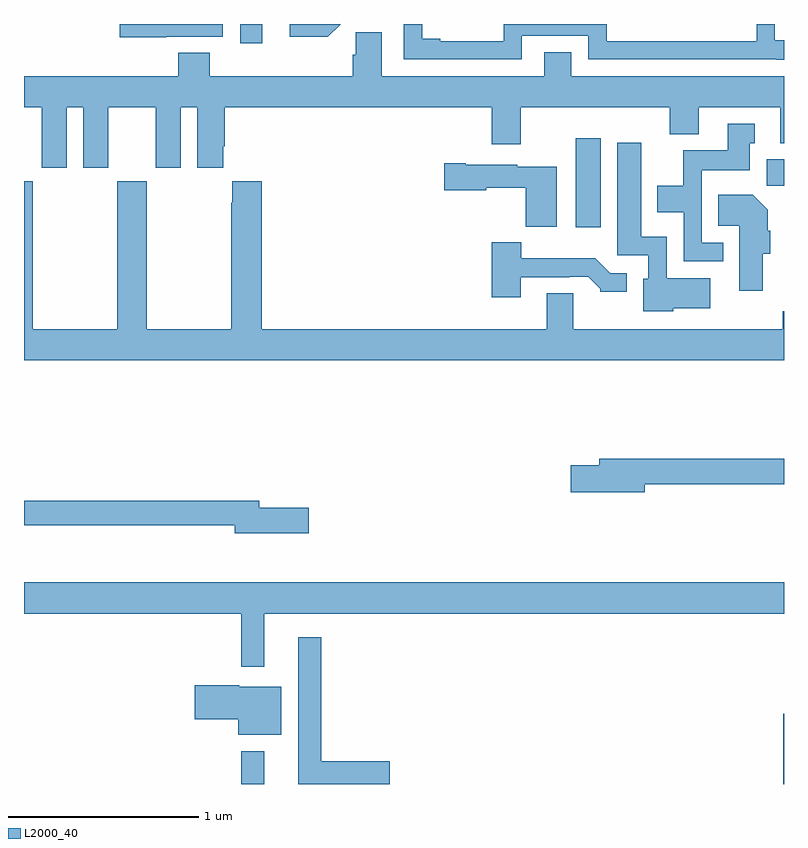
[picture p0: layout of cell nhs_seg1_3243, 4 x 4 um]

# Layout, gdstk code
import gdstk
lib = gdstk.Library(unit=1e-6, precision=1e-09)
def R(c, l, rs):  # rectangles x0, y0, x1, y1
    for r in rs: c.add(gdstk.rectangle(r[:2], r[2:], *l))
def P(c, l, *ps):  # polygons
    for p in ps: c.add(gdstk.Polygon(p, *l))
L2000_40 = (2000, 40)

nhs_seg1_3243 = lib.new_cell('nhs_seg1_3243')
R(nhs_seg1_3243, L2000_40, [(288.144,520.199,288.265,520.372), (290.996,520.199,291,520.569), (289.904,523.128,290.035,523.597), (290.909,523.348,291,523.486), (288.138,524.097,288.253,524.199), (290.16,524.198,290.771,524.199)])
P(nhs_seg1_3243, L2000_40, [(288.666,524.199),(288.399,524.199),(288.399,524.132),(288.598,524.132)],
  [(287.749,524.133),(288.045,524.133),(288.045,524.199),(287.505,524.199),(287.505,524.129),(287.749,524.129)],
  [(291,524.113),(290.952,524.113),(290.952,524.199),(290.856,524.199),(290.856,524.109),(290.067,524.109),(290.067,524.199),(289.524,524.199),(289.524,524.109),(289.192,524.109),(289.192,524.121),(289.097,524.121),(289.097,524.199),(288.999,524.199),(288.999,524.013),(289.62,524.013),(289.62,524.136),(289.971,524.136),(289.971,524.013),(290.959,524.013),(290.959,524.012),(291,524.012)],
  [(287.224,523.76),(287.312,523.76),(287.312,523.443),(287.443,523.443),(287.443,523.76),(287.693,523.76),(287.693,523.443),(287.824,523.443),(287.824,523.76),(287.912,523.76),(287.912,523.443),(288.049,523.443),(288.049,523.555),(288.056,523.555),(288.056,523.76),(289.463,523.76),(289.463,523.566),(289.615,523.566),(289.615,523.76),(290.399,523.76),(290.399,523.619),(290.551,523.619),(290.551,523.76),(290.981,523.76),(290.981,523.571),(291,523.571),(291,523.924),(289.879,523.924),(289.879,524.051),(289.739,524.051),(289.739,523.924),(288.883,523.924),(288.883,524.156),(288.745,524.156),(288.745,524.036),(288.731,524.036),(288.731,523.924),(287.978,523.924),(287.978,524.048),(287.813,524.048),(287.813,523.924),(287,523.924),(287,523.76),(287.093,523.76),(287.093,523.443),(287.224,523.443)],
  [(290.68,523.047),(290.568,523.047),(290.568,523.43),(290.821,523.43),(290.821,523.572),(290.845,523.572),(290.845,523.675),(290.705,523.675),(290.705,523.534),(290.47,523.534),(290.47,523.348),(290.333,523.348),(290.333,523.208),(290.472,523.208),(290.472,522.951),(290.68,522.951)],
  [(290.418,522.704),(290.611,522.704),(290.611,522.862),(290.382,522.862),(290.382,523.078),(290.248,523.078),(290.248,523.573),(290.123,523.573),(290.123,522.981),(290.286,522.981),(290.286,522.858),(290.258,522.858),(290.258,522.686),(290.418,522.686)],
  [(289.804,523.447),(289.596,523.447),(289.596,523.459),(289.324,523.459),(289.324,523.467),(289.212,523.467),(289.212,523.325),(289.434,523.325),(289.434,523.337),(289.642,523.337),(289.642,523.133),(289.804,523.133)],
  [(287.491,523.371),(287.491,522.592),(287.046,522.592),(287.046,523.371),(287,523.371),(287,522.428),(291,522.428),(291,522.688),(290.994,522.688),(290.994,522.592),(289.891,522.592),(289.891,522.782),(289.751,522.782),(289.751,522.592),(288.251,522.592),(288.251,523.371),(288.095,523.371),(288.095,523.259),(288.091,523.259),(288.091,522.592),(287.646,522.592),(287.646,523.371)],
  [(290.887,522.99),(290.927,522.99),(290.927,523.112),(290.914,523.112),(290.914,523.222),(290.836,523.3),(290.653,523.3),(290.653,523.136),(290.765,523.136),(290.765,522.795),(290.887,522.795)],
  [(289.615,522.867),(289.871,522.867),(289.871,522.87),(289.97,522.87),(290.034,522.806),(290.034,522.791),(290.173,522.791),(290.173,522.888),(290.085,522.888),(290.007,522.967),(289.618,522.967),(289.618,523.051),(289.463,523.051),(289.463,522.762),(289.615,522.762)],
  [(290.266,521.776),(291,521.776),(291,521.912),(290.027,521.912),(290.027,521.876),(289.878,521.876),(289.878,521.734),(290.266,521.734)],
  [(288.499,521.654),(288.238,521.654),(288.238,521.69),(287,521.69),(287,521.562),(288.11,521.562),(288.11,521.519),(288.499,521.519)],
  [(288.265,521.096),(291,521.096),(291,521.26),(287,521.26),(287,521.096),(288.144,521.096),(288.144,520.815),(288.265,520.815)],
  [(288.925,520.319),(288.565,520.319),(288.565,520.972),(288.443,520.972),(288.443,520.199),(288.925,520.199)],
  [(288.355,520.711),(288.132,520.711),(288.132,520.719),(287.898,520.719),(287.898,520.541),(288.128,520.541),(288.128,520.457),(288.355,520.457)])

lib.write_gds('nhs_seg1_3243.gds')
